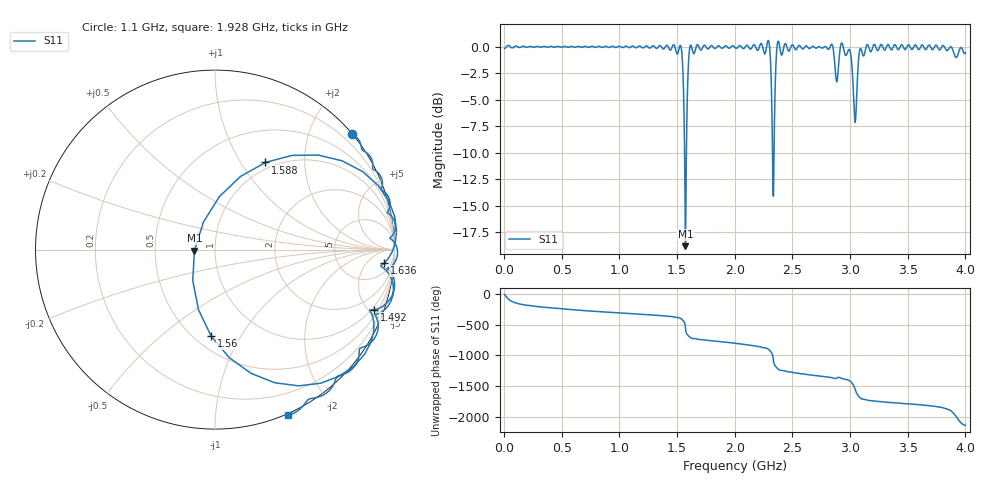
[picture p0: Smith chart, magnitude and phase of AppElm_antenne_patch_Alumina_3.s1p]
! TOUCHSTONE file generated by CST MICROWAVE STUDIO
! Date and time: Thu Jun  9 09:13:13 2022
! Project name: AppElm_antenne_patch_Alumina.cst
! Parameters = {L=30.5; W=41.8; e=0.035; h=1.6; lambda=0.190476; ls=90; w0=0.952; w1=0.373; ws=90; y0=14; y1=10}
! Header version: 2018
! Port assignment regex: !\s*Touchstone port\s*([0-9]+)\s*=\s*(CST MWS port|CST DS port)\s*([0-9]+|Zmin|Zmax)\s*\(\"(.*)\"\)(\s*mode\s*([0-9]+))?.*
! Touchstone port assignment:
! Touchstone port 1 = CST MWS port 1 ("")
# GHz S MA R 50
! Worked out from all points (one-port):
!   1000 points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, 4 MHz to 4 GHz, reference 50 ohm
!   lowest |S11| = -18.8 dB at 1.572 GHz (marker M1), VSWR 1.26, Z = 39.7 - j0.444 ohm
!   |S11| at or under -10 dB: 1.565 GHz to 1.581 GHz (15.93 MHz wide, 1.01 % of centre); 2.328 GHz to 2.341 GHz (13.07 MHz wide, 0.56 % of centre)
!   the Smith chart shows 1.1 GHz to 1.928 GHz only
!   S11 on the Smith chart (normalised r, x): 1.1 GHz: 0.00, +2.75; 1.492 GHz: 0.82, -5.35; 1.56 GHz: 0.60, -0.75; 1.588 GHz: 0.91, +1.29; 1.636 GHz: 12, -17; 1.928 GHz: -0.01, -1.53
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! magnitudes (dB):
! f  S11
! 4 MHz  -0.2
! 504 MHz  0.0
! 1.004 GHz  0.0
! 1.1 GHz  0.0
! 1.492 GHz  -0.5
! 1.504 GHz  -0.7
! 1.536 GHz  -0.1
! 1.56 GHz  -6.3
! 1.572 GHz  -18.8
! 1.588 GHz  -5.0
! 1.608 GHz  -0.2
! 1.636 GHz  -0.5
! 1.928 GHz  0.1
! 2.004 GHz  -0.1
! 2.288 GHz  0.6
! 2.304 GHz  -0.3
! 2.324 GHz  -7.2
! 2.336 GHz  -14.1
! 2.376 GHz  0.5
! 2.504 GHz  0.2
! 2.836 GHz  0.2
! 2.884 GHz  -3.3
! 2.928 GHz  0.4
! 3.004 GHz  -0.6
! 3.044 GHz  -7.1
! 3.096 GHz  -0.2
! 3.504 GHz  0.2
! 4 GHz  -0.6
